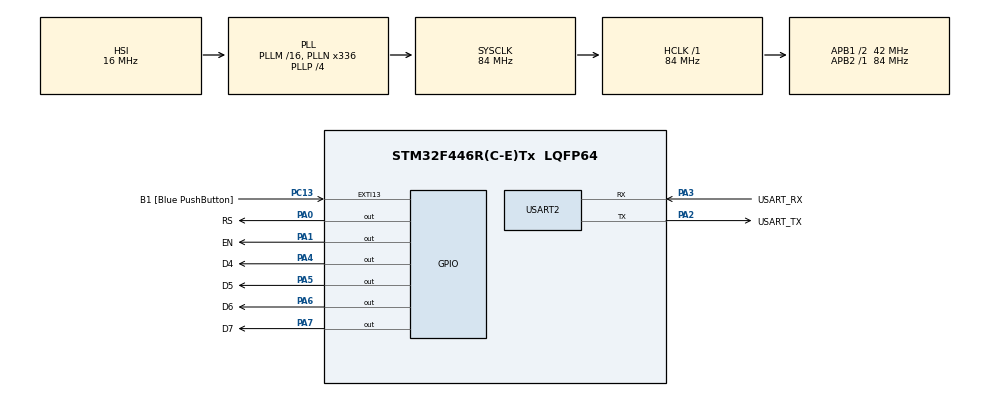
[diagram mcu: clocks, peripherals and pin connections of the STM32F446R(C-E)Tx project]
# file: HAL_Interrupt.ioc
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Mcu.Family=STM32F4
Mcu.Name=STM32F446R(C-E)Tx
Mcu.Package=LQFP64
NVIC.PriorityGroup=NVIC_PRIORITYGROUP_0
PA0-WKUP.GPIO_Label=RS
PA0-WKUP.Signal=GPIO_Output
PA1.GPIO_Label=EN
PA1.Signal=GPIO_Output
PA13.GPIO_Label=TMS
PA13.Mode=Serial_Wire
PA13.Signal=SYS_JTMS-SWDIO
PA14.GPIO_Label=TCK
PA14.Mode=Serial_Wire
PA14.Signal=SYS_JTCK-SWCLK
PA2.GPIO_Label=USART_TX
PA2.Mode=Asynchronous
PA2.Signal=USART2_TX
PA3.GPIO_Label=USART_RX
PA3.Mode=Asynchronous
PA3.Signal=USART2_RX
PA4.GPIO_Label=D4
PA4.Signal=GPIO_Output
PA5.GPIO_Label=D5
PA5.Signal=GPIO_Output
PA6.GPIO_Label=D6
PA6.Signal=GPIO_Output
PA7.GPIO_Label=D7
PA7.Signal=GPIO_Output
PB3.GPIO_Label=SWO
PB3.Signal=SYS_JTDO-SWO
PC13.GPIO_Label=B1 [Blue PushButton]
PC13.GPIO_ModeDefaultEXTI=GPIO_MODE_IT_FALLING
PC13.Signal=GPXTI13
PC14-OSC32_IN.Mode=LSE-External-Oscillator
PC14-OSC32_IN.Signal=RCC_OSC32_IN
PC15-OSC32_OUT.Mode=LSE-External-Oscillator
PC15-OSC32_OUT.Signal=RCC_OSC32_OUT
PH0-OSC_IN.Mode=HSE-External-Oscillator
PH0-OSC_IN.Signal=RCC_OSC_IN
PH1-OSC_OUT.Mode=HSE-External-Oscillator
PH1-OSC_OUT.Signal=RCC_OSC_OUT
ProjectManager.HeapSize=0x200
ProjectManager.StackSize=0x400
ProjectManager.TargetToolchain=STM32CubeIDE
RCC.48MHZClocksFreq_Value=84000000
RCC.AHBFreq_Value=84000000
RCC.APB1CLKDivider=RCC_HCLK_DIV2
RCC.APB1Freq_Value=42000000
RCC.APB1TimFreq_Value=84000000
RCC.APB2Freq_Value=84000000
RCC.APB2TimFreq_Value=84000000
RCC.CortexFreq_Value=84000000
RCC.FLatency-AdvancedSettings=FLASH_LATENCY_2
RCC.HCLKFreq_Value=84000000
RCC.HSE_VALUE=8000000
RCC.HSI_VALUE=16000000
RCC.PLLN=336
RCC.PLLP=RCC_PLLP_DIV4
RCC.SYSCLKFreq_VALUE=84000000
RCC.SYSCLKSource=RCC_SYSCLKSOURCE_PLLCLK
RCC.USBFreq_Value=168000000
RCC.VCOOutputFreq_Value=336000000
USART2.VirtualMode=VM_ASYNC
board=NUCLEO-F446RE

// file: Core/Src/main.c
/* USER CODE BEGIN Header */
/**
 ******************************************************************************
 * @file           : main.c
 * @brief          : Main program body
 ******************************************************************************
 * @attention
 *
 * <h2><center>&copy; Copyright (c) 2020 STMicroelectronics.
 * All rights reserved.</center></h2>
 *
 * This software component is licensed by ST under BSD 3-Clause license,
 * the "License"; You may not use this file except in compliance with the
 * License. You may obtain a copy of the License at:
 *                        opensource.org/licenses/BSD-3-Clause
 *
 ******************************************************************************
 */
/* USER CODE END Header */
#include "main.h"

/* USER CODE BEGIN Includes */
#include "lcd.h"
/* USER CODE END Includes */

// commands

UART_HandleTypeDef huart2;

void SystemClock_Config(void);
static void MX_GPIO_Init(void);
static void MX_USART2_UART_Init(void);

int main(void)
{

  /* MCU Configuration--------------------------------------------------------*/

  /* Reset of all peripherals, Initializes the Flash interface and the Systick. */
  HAL_Init();

  /* Configure the system clock */
  SystemClock_Config();

  /* Initialize all configured peripherals */
  MX_GPIO_Init();
  MX_USART2_UART_Init();
  /* USER CODE BEGIN 2 */

  // initialize the LCD
  lcd_init();

  set_cursor(0, 0);         // set cursor to second row, first column
  lcd_send_string("Hello"); // send a string to the LCD

  set_cursor(1, 0);             // set cursor to second row, first column
  lcd_send_string("Hari Bhai"); // send a string to the LCD

  no_blink();                   // turn off the blink
  no_cursor();                     // turn off the cursor

  HAL_Delay(1000);

  //  home(); // return cursor to home position
  set_cursor(0, 0); // set cursor to second row, first column

  /* USER CODE END 2 */

  /* Infinite loop */
  while (1)
  {

    /* USER CODE BEGIN 3 */
        for (int positionCounter = 0; positionCounter < 13; positionCounter++) {
      // scroll one position left:
      scroll_display_left();
      // wait a bit:
      HAL_Delay(300);
    }

    // scroll 29 positions (string length + display length) to the right
    // to move it offscreen right:
    for (int positionCounter = 0; positionCounter < 29; positionCounter++) {
      // scroll one position right:
      scroll_display_right();
      // wait a bit:
      HAL_Delay(300);
    }

    // scroll 16 positions (display length + string length) to the left
    // to move it back to center:
    for (int positionCounter = 0; positionCounter < 16; positionCounter++) {
      // scroll one position left:
      scroll_display_left();
      // wait a bit:
      HAL_Delay(300);
    }

      HAL_Delay(1000);

    /* USER CODE END 3 */
  }
}
void SystemClock_Config(void)
{
  RCC_OscInitTypeDef RCC_OscInitStruct = {0};
  RCC_ClkInitTypeDef RCC_ClkInitStruct = {0};

  /** Configure the main internal regulator output voltage
   */
  __HAL_RCC_PWR_CLK_ENABLE();
  __HAL_PWR_VOLTAGESCALING_CONFIG(PWR_REGULATOR_VOLTAGE_SCALE3);

  /** Initializes the RCC Oscillators according to the specified parameters
   * in the RCC_OscInitTypeDef structure.
   */
  RCC_OscInitStruct.OscillatorType = RCC_OSCILLATORTYPE_HSI;
  RCC_OscInitStruct.HSIState = RCC_HSI_ON;
  RCC_OscInitStruct.HSICalibrationValue = RCC_HSICALIBRATION_DEFAULT;
  RCC_OscInitStruct.PLL.PLLState = RCC_PLL_ON;
  RCC_OscInitStruct.PLL.PLLSource = RCC_PLLSOURCE_HSI;
  RCC_OscInitStruct.PLL.PLLM = 16;
  RCC_OscInitStruct.PLL.PLLN = 336;
  RCC_OscInitStruct.PLL.PLLP = RCC_PLLP_DIV4;
  RCC_OscInitStruct.PLL.PLLQ = 2;
  RCC_OscInitStruct.PLL.PLLR = 2;
  if (HAL_RCC_OscConfig(&RCC_OscInitStruct) != HAL_OK)
  {
    Error_Handler();
  }

  /** Initializes the CPU, AHB and APB buses clocks
   */
  RCC_ClkInitStruct.ClockType = RCC_CLOCKTYPE_HCLK | RCC_CLOCKTYPE_SYSCLK | RCC_CLOCKTYPE_PCLK1 | RCC_CLOCKTYPE_PCLK2;
  RCC_ClkInitStruct.SYSCLKSource = RCC_SYSCLKSOURCE_PLLCLK;
  RCC_ClkInitStruct.AHBCLKDivider = RCC_SYSCLK_DIV1;
  RCC_ClkInitStruct.APB1CLKDivider = RCC_HCLK_DIV2;
  RCC_ClkInitStruct.APB2CLKDivider = RCC_HCLK_DIV1;

  if (HAL_RCC_ClockConfig(&RCC_ClkInitStruct, FLASH_LATENCY_2) != HAL_OK)
  {
    Error_Handler();
  }
}

static void MX_USART2_UART_Init(void)
{

  huart2.Instance = USART2;
  huart2.Init.BaudRate = 115200;
  huart2.Init.WordLength = UART_WORDLENGTH_8B;
  huart2.Init.StopBits = UART_STOPBITS_1;
  huart2.Init.Parity = UART_PARITY_NONE;
  huart2.Init.Mode = UART_MODE_TX_RX;
  huart2.Init.HwFlowCtl = UART_HWCONTROL_NONE;
  huart2.Init.OverSampling = UART_OVERSAMPLING_16;
  if (HAL_UART_Init(&huart2) != HAL_OK)
  {
    Error_Handler();
  }
}

static void MX_GPIO_Init(void)
{
  GPIO_InitTypeDef GPIO_InitStruct = {0};

  /* GPIO Ports Clock Enable */
  __HAL_RCC_GPIOC_CLK_ENABLE();
  __HAL_RCC_GPIOH_CLK_ENABLE();
  __HAL_RCC_GPIOA_CLK_ENABLE();
  __HAL_RCC_GPIOB_CLK_ENABLE();

  /*Configure GPIO pin Output Level */
  HAL_GPIO_WritePin(GPIOA, RS_Pin | EN_Pin | D4_Pin | D5_Pin | D6_Pin | D7_Pin, GPIO_PIN_RESET);

  /*Configure GPIO pin : B1_Pin */
  GPIO_InitStruct.Pin = B1_Pin;
  GPIO_InitStruct.Mode = GPIO_MODE_IT_FALLING;
  GPIO_InitStruct.Pull = GPIO_NOPULL;
  HAL_GPIO_Init(B1_GPIO_Port, &GPIO_InitStruct);

  /*Configure GPIO pins : RS_Pin EN_Pin D4_Pin D5_Pin
                           D6_Pin D7_Pin */
  GPIO_InitStruct.Pin = RS_Pin | EN_Pin | D4_Pin | D5_Pin | D6_Pin | D7_Pin;
  GPIO_InitStruct.Mode = GPIO_MODE_OUTPUT_PP;
  GPIO_InitStruct.Pull = GPIO_NOPULL;
  GPIO_InitStruct.Speed = GPIO_SPEED_FREQ_LOW;
  HAL_GPIO_Init(GPIOA, &GPIO_InitStruct);

}

void Error_Handler(void)
{
}
